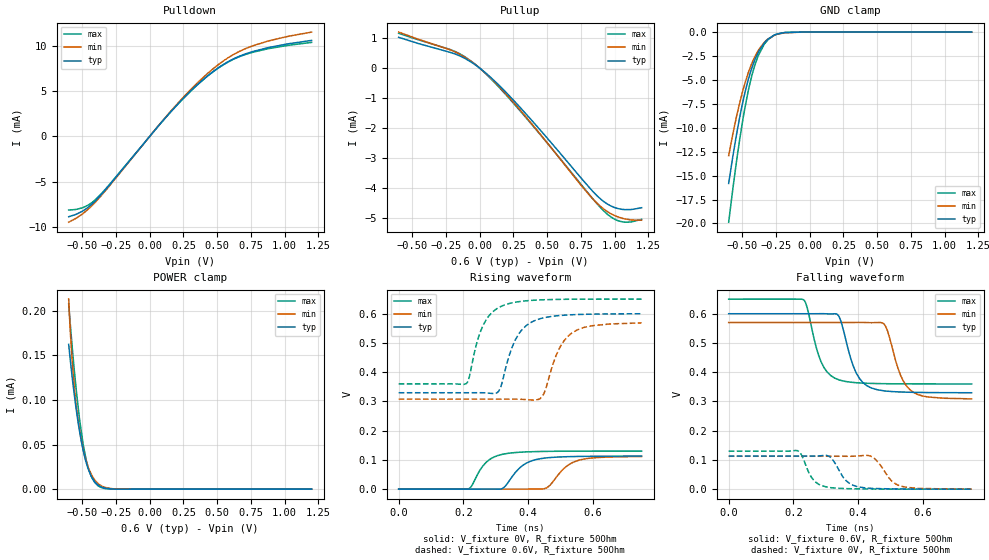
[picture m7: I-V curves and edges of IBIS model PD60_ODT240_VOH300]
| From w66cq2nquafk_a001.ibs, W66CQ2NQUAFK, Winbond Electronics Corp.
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[Model]   PD60_ODT240_VOH300
Model_type   I/O
Polarity   Non-Inverting
Enable   Active-Low
Vinl = 0.08
Vinh = 0.22
Vmeas = 0.15
Vref = 0
Cref = 0pF
Rref = 240
|   typ   min   max
C_comp   0.85pF   0.80pF   0.90pF
[Voltage Range]   0.6   0.57   0.65
[Temperature Range]   25   105   -40
[Pullup Reference]   0.6   0.57   0.65
[Pulldown Reference]   0   0   0
[Power Clamp Reference]   0.6   0.57   0.65
[GND Clamp Reference]   0   0   0
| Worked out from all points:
|   slope of the pulldown table from 0 to 0.09 V, typ, clamps not added: 56.1 ohm
|   slope of the pullup table from 0 to 0.09 V, typ, clamps not added: 260 ohm
|   GND clamp passes 1 mA (typ) near -0.33 V on its own axis
|   falling waveform, V_fixture 0.6V, R_fixture 50Ohm: 20-80 % time 47.3ps typ, 47.5ps min, 44.7ps max; typ from 0.6 V to 0.33 V
|   rising waveform, V_fixture 0V, R_fixture 50Ohm: 20-80 % time 59.6ps typ, 60.2ps min, 52.2ps max; typ from 0 V to 0.113 V
|   rising waveform, V_fixture 0.6V, R_fixture 50Ohm: 20-80 % time 58ps typ, 58.8ps min, 53.6ps max; typ from 0.33 V to 0.6 V
|   falling waveform, V_fixture 0V, R_fixture 50Ohm: 20-80 % time 42.2ps typ, 46.5ps min, 36.4ps max; typ from 0.113 V to 0 V
[Pulldown]
|   Voltage   I(typ)   I(min)   I(max)
-600mV    -8.908mA   -9.513mA   -8.165mA
-492.8mV  -8.242mA   -8.538mA   -7.889mA
-451.8mV  -7.814mA   -8.022mA   -7.586mA
-403.8mV  -7.169mA   -7.313mA   -7.041mA
-306.9mV  -5.549mA   -5.648mA   -5.494mA
164.4mV   2.868mA    2.933mA    2.861mA
350.2mV   5.693mA    5.883mA    5.673mA
510.9mV   7.634mA    7.986mA    7.603mA
624.6mV   8.626mA    9.113mA    8.584mA
763.4mV   9.411mA    10.05mA    9.332mA
1.013V    10.24mA    11.06mA    10.07mA
1.2V      10.65mA    11.57mA    10.43mA
[GND Clamp]
|   Voltage   I(typ)   I(min)   I(max)
-600mV    -15.82mA   -12.92mA   -19.87mA
-569.4mV  -13.02mA   -10.67mA   -16.41mA
-519.4mV  -8.993mA   -7.467mA   -11.32mA
-492.8mV  -7.169mA   -6.004mA   -8.957mA
-451.8mV  -4.826mA   -4.14mA    -5.923mA
-427.8mV  -3.73mA    -3.251mA   -4.504mA
-382.2mV  -2.159mA   -1.954mA   -2.517mA
-336.7mV  -1.154mA   -1.091mA   -1.28mA
-306.9mV  -717.9uA   -704.2uA   -767.5uA
-256.3mV  -274.6uA   -308.1uA   -275uA
-182.4mV  -45.62uA   -72.22uA   -37.36uA
1.2V      0A         0A         0A
[Pullup]
|   Voltage   I(typ)   I(min)   I(max)
-600mV    1.025mA    1.199mA    1.157mA
-183mV    470.8uA    538.3uA    554.3uA
-36.45mV  120.2uA    130.7uA    139.4uA
84.45mV   -322.5uA   -346.1uA   -363.9uA
228.1mV   -964.7uA   -1.03mA    -1.059mA
763.4mV   -3.731mA   -3.975mA   -3.947mA
839.1mV   -4.117mA   -4.367mA   -4.363mA
919.1mV   -4.45mA    -4.699mA   -4.762mA
996mV     -4.646mA   -4.911mA   -5.031mA
1.056V    -4.713mA   -5.009mA   -5.127mA
1.125V    -4.716mA   -5.066mA   -5.131mA
1.2V      -4.658mA   -5.075mA   -5.044mA
[POWER Clamp]
|   Voltage   I(typ)   I(min)   I(max)
-600mV    162.4uA    213.1uA    207.7uA
-590.3mV  148uA      183.3uA    189uA
-580mV    133.8uA    157.2uA    170.3uA
-561mV    109.1uA    119.2uA    137.7uA
-540mV    84.98uA    88.5uA     105.6uA
-511.1mV  57.86uA    58.5uA     69.62uA
-492.8mV  43.91uA    44.65uA    50.38uA
-451.8mV  21.39uA    23.23uA    22.19uA
-427.1mV  13.03uA    15.05uA    12.49uA
-377.7mV  4.004uA    5.586uA    3.337uA
-261.6mV  90.32nA    377.6nA    13.33nA
1.2V      0A         0A         0A
[Ramp]
R_load = 50
|   typ   min   max
dV/dt_r 6.7829E-02/5.9520E-11   6.6980E-02/6.0202E-11   7.8092E-02/5.2131E-11
dV/dt_f 1.6214E-01/4.7234E-11   1.5673E-01/4.7382E-11   1.7410E-01/4.4719E-11
[Falling Waveform]
V_fixture = 0.6V
V_fixture_min = 0.57V
V_fixture_max = 0.65V
R_fixture = 50Ohm
C_fixture = 0F
|   Time   V(typ)   V(min)   V(max)
0s        600mV      570mV      650mV
232ps     600mV      570mV      647.3mV
286ps     600.2mV    570mV      433.7mV
332ps     599.5mV    570mV      377.7mV
404ps     378.4mV    570.2mV    363.4mV
475ps     337.1mV    568.5mV    360.9mV
490ps     335.1mV    542.4mV    360.7mV
531ps     332.4mV    388.7mV    360.2mV
560ps     331.5mV    339.8mV    360.1mV
750ps     329.8mV    308.8mV    359.8mV
[Rising Waveform]
V_fixture = 0V
V_fixture_min = 0V
V_fixture_max = 0V
R_fixture = 50Ohm
C_fixture = 0F
|   Time   V(typ)   V(min)   V(max)
0s        5.397uV    24.39uV    1.065uV
215ps     2.881uV    24.38uV    835.5uV
270ps     89.64uV    24.67uV    91.62mV
314ps     126.5uV    20.2uV     117.5mV
385ps     82.66mV    106.9uV    126.9mV
443ps     105.1mV    308.3uV    128.9mV
463ps     107.6mV    9.166mV    129.2mV
516ps     110.8mV    76.17mV    129.7mV
549ps     111.6mV    96.39mV    129.9mV
750ps     113.1mV    111.7mV    130.2mV
[Rising Waveform]
V_fixture = 0.6V
V_fixture_min = 0.57V
V_fixture_max = 0.65V
R_fixture = 50Ohm
C_fixture = 0F
|   Time   V(typ)   V(min)   V(max)
0s        329.6mV    307.6mV    359.8mV
209ps     329.6mV    307.6mV    361.1mV
253ps     329.7mV    307.6mV    540.3mV
305ps     330.6mV    307.6mV    618.3mV
361ps     512.2mV    307.6mV    639.4mV
430ps     580.4mV    306.3mV    646.8mV
449ps     586.1mV    328mV      647.6mV
496ps     593.5mV    481.2mV    648.9mV
531ps     596.1mV    530.9mV    649.4mV
750ps     599.8mV    568.4mV    650mV
[Falling Waveform]
|Gnd
V_fixture = 0V
V_fixture_min = 0V
V_fixture_max = 0V
R_fixture = 50Ohm
C_fixture = 0F
|   Time   V(typ)   V(min)   V(max)
0s        113.2mV    112.6mV    130.2mV
212ps     113.2mV    112.6mV    131.7mV
260ps     113.1mV    112.6mV    33.96mV
304ps     114.9mV    112.6mV    7.053mV
361ps     30.88mV    112.5mV    1.992mV
395ps     9.366mV    113.2mV    1.148mV
443ps     2.802mV    110.5mV    548.4uV
502ps     1.127mV    29.5mV     232.4uV
531ps     787.6uV    10.67mV    148.6uV
750ps     59.6uV     464.2uV    5.361uV
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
